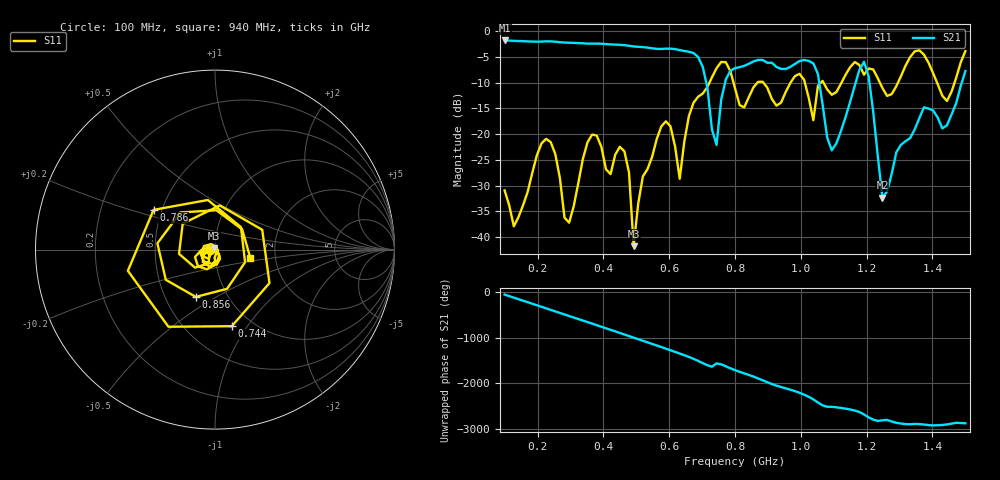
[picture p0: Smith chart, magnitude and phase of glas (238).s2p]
! NanoVNA-App
! Date: 2025-09-25 15:57:19
! Start: 100MHz Stop: 1,5GHz Points: 101
! S-Parameter data: F S11 S21 S12 S22
# Hz S RI R 50
!  Frequency  S11_Real  S11_Imag  S21_Real  S21_Imag  S12_Real  S12_Imag  S22_Real  S22_Imag
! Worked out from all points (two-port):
!   101 points, 100 MHz to 1.5 GHz, reference 50 ohm
!   highest |S21| = -1.80 dB at 100 MHz (marker M1); lowest = -32.4 dB at 1.248 GHz (marker M2)
!   |S21| within 3 dB of the highest: start of sweep to 684.1 MHz
!   lowest |S11| = -41.8 dB at 492 MHz (marker M3), VSWR 1.02, Z = 49.5 + j0.638 ohm
!   |S11| at or under -10 dB: start of sweep to 722.5 MHz; 795.4 MHz to 868.1 MHz (72.68 MHz wide, 8.74 % of centre); 886.2 MHz to 968.8 MHz (82.6 MHz wide, 8.91 % of centre) (the widest 3 of 7)
!   S12 and S22 are empty: the file has one direction only
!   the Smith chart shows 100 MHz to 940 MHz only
!   S11 on the Smith chart (normalised r, x): 100 MHz: 0.95, -0.01; 744 MHz: 0.81, -0.85; 786 MHz: 0.45, +0.24; 856 MHz: 0.71, -0.41; 940 MHz: 1.48, -0.14
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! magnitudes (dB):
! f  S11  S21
! 100 MHz  -30.9  -1.8
! 128 MHz  -37.9  -1.9
! 226 MHz  -20.9  -2.0
! 296 MHz  -37.2  -2.2
! 338 MHz  -24.8  -2.4
! 464 MHz  -23.3  -2.7
! 492 MHz  -41.8  -3.0
! 576 MHz  -18.5  -3.5
! 632 MHz  -28.7  -3.7
! 702 MHz  -12.1  -6.9
! 744 MHz  -7.2  -22.1
! 786 MHz  -7.8  -7.7
! 800 MHz  -11.1  -7.2
! 856 MHz  -10.9  -5.9
! 940 MHz  -13.9  -7.3
! 1.038 GHz  -17.3  -6.2
! 1.094 GHz  -12.4  -23.1
! 1.192 GHz  -8.5  -5.9
! 1.248 GHz  -11.1  -32.4
! 1.276 GHz  -12.2  -27.8
! 1.444 GHz  -13.6  -18.3
! 1.5 GHz  -3.9  -7.8
